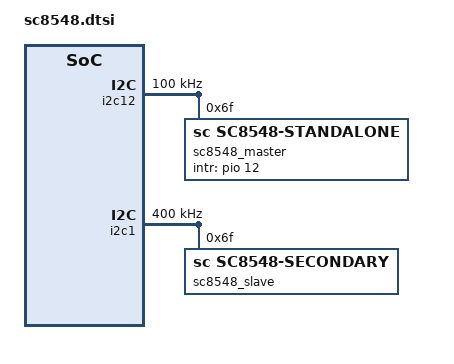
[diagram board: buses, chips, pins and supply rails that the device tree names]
&i2c12 {
	#address-cells = <1>;
	#size-cells = <0>;
	clock-frequency = <100000>;
	sc8548_master@6F{
		compatible = "sc,sc8548-standalone";
		chg_name = "primary_dvchg";
		reg = <0x6F>;
		/* interrupt-parent = <&pio>; */
		/* interrupts = <65 0>; */
		/* pinctrl-names = "default"; */
		/* pinctrl-0 = <&sc8551_int_default>; */
		sc8548,intr-gpios = <&pio 12 0x0>;
		/*sc,sc8548,bat-ovp-disale = <0>;
		sc,sc8548,bus-ovp-disale = <0>;
		sc,sc8548,bus-ocp-disale = <0>;*/
		sc,sc8548,bat-ovp-threshold = <4525>;/*mv*/
		sc,sc8548,bat-ocp-threshold = <13000>;/*mv*/
		sc,sc8548,ac-ovp-threshold = <12000>;/*mv*/
		sc,sc8548,bus-ovp-threshold = <12000>;/*mv*/
		sc,sc8548,bus-ocp-threshold = <5000>;/*ma*/
		sc,sc8548,sense-resistor-mohm = <5>;/*mΩ*/
	};
};

&i2c1 {
	#address-cells = <1>;
	#size-cells = <0>;
	clock-frequency = <400000>;
	sc8548_slave@6F{
		compatible = "sc,sc8548-secondary";
		chg_name = "secondary_dvchg";
		reg = <0x6F>;
		/* interrupt-parent = <&pio>; */
		/* interrupts = <65 0>; */
		/* pinctrl-names = "default"; */
		/* pinctrl-0 = <&sc8551_int_default>; */
		/*sc8548,intr-gpios = <&pio 0 0x0>;*/
		sc,sc8548,bat-ovp-disable = <1>;
		sc,sc8548,bus-ovp-disable = <1>;
		sc,sc8548,bus-ocp-disable = <1>;
		sc,exio_irq = <1>;
	
		sc,sc8548,bat-ovp-threshold = <4525>;/*mv*/
		sc,sc8548,bat-ocp-threshold = <13000>;/*mv*/
		sc,sc8548,ac-ovp-threshold = <11000>;/*mv*/
		sc,sc8548,bus-ovp-threshold = <11000>;/*mv*/
		sc,sc8548,bus-ocp-threshold = <5000>;/*ma*/
		sc,sc8548,sense-resistor-mohm = <5>;/*mΩ*/
	};
};
